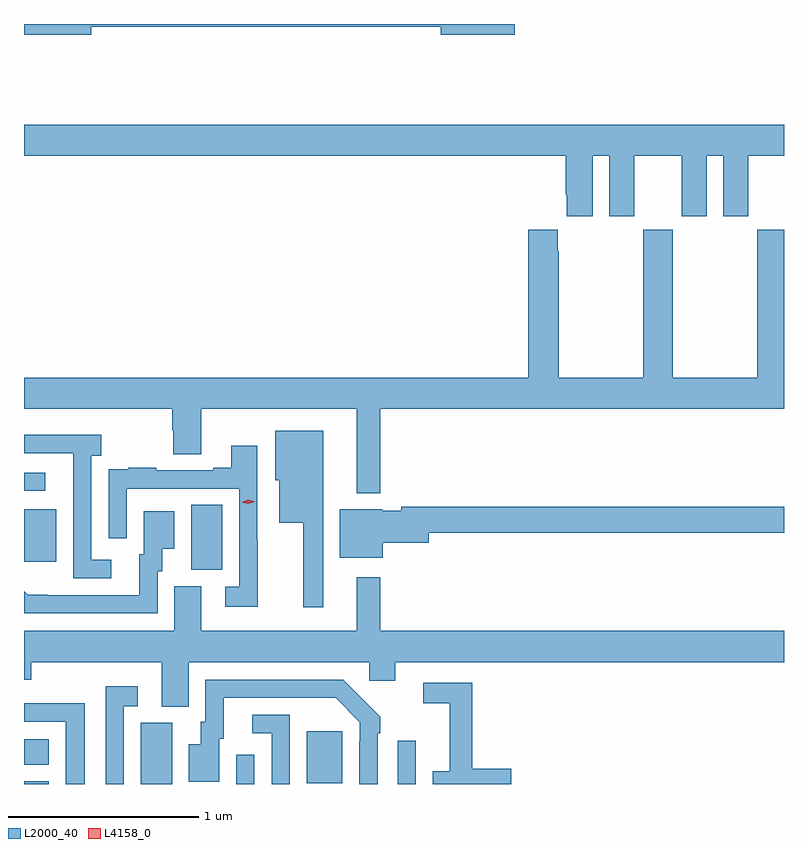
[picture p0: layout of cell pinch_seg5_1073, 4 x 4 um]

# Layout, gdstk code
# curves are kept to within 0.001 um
import gdstk
lib = gdstk.Library(unit=1e-6, precision=1e-09)
def R(c, l, rs):  # rectangles x0, y0, x1, y1
    for r in rs: c.add(gdstk.rectangle(r[:2], r[2:], *l))
def P(c, l, *ps):  # polygons
    for p in ps: c.add(gdstk.Polygon(p, *l))
L2000_40 = (2000, 40)
L4158_0 = (4158, 0)

pinch_seg5_1073 = lib.new_cell('pinch_seg5_1073')
R(pinch_seg5_1073, L2000_40, [(805.841,866.774,805.972,866.788), (806.456,866.774,806.62,867.096), (806.958,866.774,807.054,866.929), (807.807,866.774,807.903,867.001), (807.329,866.777,807.517,867.052), (805.841,866.876,805.972,867.01), (806.72,867.901,806.884,868.244), (805.841,867.945,806.011,868.219), (805.841,868.317,805.954,868.413)])
P(pinch_seg5_1073, L2000_40, [(806.194,870.76),(808.034,870.76),(808.034,870.718),(808.423,870.718),(808.423,870.774),(805.841,870.774),(805.841,870.718),(806.194,870.718)],
  [(808.834,870.08),(808.922,870.08),(808.922,869.763),(809.053,869.763),(809.053,870.08),(809.303,870.08),(809.303,869.763),(809.434,869.763),(809.434,870.08),(809.522,870.08),(809.522,869.763),(809.653,869.763),(809.653,870.08),(809.841,870.08),(809.841,870.244),(805.841,870.244),(805.841,870.08),(808.691,870.08),(808.691,869.875),(808.697,869.875),(808.697,869.763),(808.834,869.763)],
  [(807.715,868.748),(809.841,868.748),(809.841,869.692),(809.701,869.692),(809.701,868.912),(809.256,868.912),(809.256,869.692),(809.101,869.692),(809.101,868.912),(808.656,868.912),(808.656,869.579),(808.651,869.579),(808.651,869.692),(808.496,869.692),(808.496,868.912),(805.841,868.912),(805.841,868.748),(806.621,868.748),(806.621,868.635),(806.626,868.635),(806.626,868.51),(806.773,868.51),(806.773,868.748),(807.593,868.748),(807.593,868.304),(807.715,868.304)],
  [(807.415,868.633),(807.164,868.633),(807.164,868.374),(807.185,868.374),(807.185,868.148),(807.311,868.148),(807.311,867.705),(807.415,867.705)],
  [(806.299,867.954),(806.196,867.954),(806.196,868.502),(806.248,868.502),(806.248,868.612),(805.841,868.612),(805.841,868.515),(806.099,868.515),(806.099,868.315),(806.1,868.315),(806.1,867.858),(806.299,867.858)],
  [(807.072,868.052),(807.069,868.052),(807.069,868.555),(806.933,868.555),(806.933,868.438),(806.837,868.438),(806.837,868.425),(806.537,868.425),(806.537,868.438),(806.389,868.438),(806.389,868.431),(806.287,868.431),(806.287,868.322),(806.286,868.322),(806.286,868.068),(806.382,868.068),(806.382,868.329),(806.973,868.329),(806.973,867.813),(806.901,867.813),(806.901,867.708),(807.072,867.708)],
  [(807.73,868.043),(807.97,868.043),(807.97,868.096),(809.841,868.096),(809.841,868.232),(807.826,868.232),(807.826,868.213),(807.726,868.213),(807.726,868.219),(807.503,868.219),(807.503,867.965),(807.73,867.965)],
  [(806.544,867.894),(806.569,867.894),(806.569,868.013),(806.632,868.013),(806.632,868.21),(806.471,868.21),(806.471,867.984),(806.447,867.984),(806.447,867.768),(805.86,867.769),(805.841,867.788),(805.841,867.672),(806.544,867.672)],
  [(806.707,867.416),(807.657,867.416),(807.657,867.318),(807.796,867.318),(807.796,867.416),(809.841,867.416),(809.841,867.58),(807.715,867.58),(807.715,867.862),(807.593,867.862),(807.593,867.58),(806.773,867.58),(806.773,867.816),(806.633,867.816),(806.633,867.58),(805.841,867.58),(805.841,867.323),(805.88,867.323),(805.88,867.416),(806.567,867.416),(806.567,867.181),(806.707,867.181)],
  [(807.702,867.041),(807.717,867.041),(807.717,867.129),(807.52,867.324),(806.796,867.324),(806.796,867.102),(806.771,867.102),(806.771,866.983),(806.708,866.983),(806.708,866.787),(806.869,866.787),(806.869,867.012),(806.893,867.012),(806.893,867.228),(807.481,867.228),(807.609,867.099),(807.609,866.999),(807.606,866.999),(807.606,866.774),(807.702,866.774)],
  [(808.405,866.855),(808.199,866.855),(808.199,867.306),(807.942,867.306),(807.942,867.198),(808.082,867.198),(808.082,866.842),(807.992,866.842),(807.992,866.774),(808.405,866.774)],
  [(806.367,867.183),(806.44,867.183),(806.44,867.289),(806.271,867.289),(806.271,866.774),(806.367,866.774)],
  [(806.161,867.2),(805.938,867.2),(805.938,867.198),(805.841,867.198),(805.841,867.102),(806.06,867.102),(806.06,866.774),(806.161,866.774)],
  [(807.24,867.138),(807.042,867.138),(807.042,867.042),(807.144,867.042),(807.144,866.774),(807.24,866.774)])
P(pinch_seg5_1073, L4158_0, [(807.022,868.249),(806.987,868.258),(806.987,868.258),(806.987,868.258),(807.022,868.269),(807.057,868.26),(807.057,868.26),(807.057,868.26)])

lib.write_gds('pinch_seg5_1073.gds')
